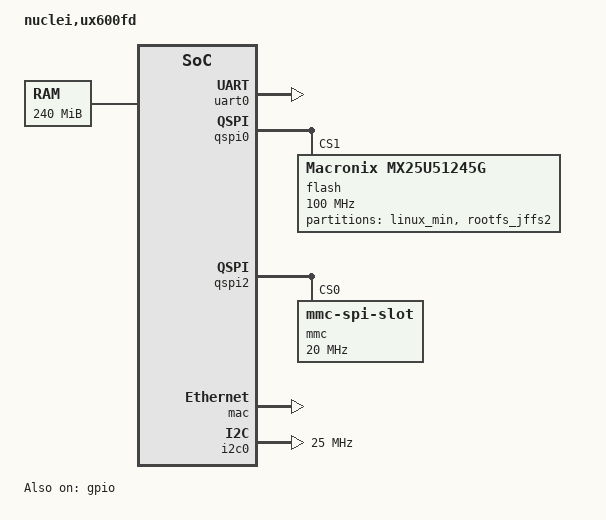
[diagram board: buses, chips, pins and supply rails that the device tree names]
// SPDX-License-Identifier: (GPL-2.0 OR MIT)
/* Copyright (c) 2020 Nuclei System Technologies */

/* Clock frequency (in Hz) of the PCB crystal for rtcclk */
/*#define RTCCLK_FREQ		32768*/

/dts-v1/;

/ {
	#address-cells = <2>;
	#size-cells = <2>;
	compatible = "nuclei,ux600fd";
	model = "nuclei,ux600fd";

	chosen {
		bootargs = "earlycon=sbi console=ttySIF0";
		stdout-path = "serial0";
	};

	aliases {
		serial0 = &uart0;
		serial1 = &uart1;
	};

	cpus {
		#address-cells = <1>;
		#size-cells = <0>;
		timebase-frequency = <48828>;
		
		cpu0: cpu@0 {
			device_type = "cpu";
			reg = <0>;
			status = "okay";
			compatible = "riscv";
			riscv,isa = "rv64imafdc";
			mmu-type = "riscv,sv39";
			clock-frequency = <400000000>;
		
			cpu0_intc: interrupt-controller {
				#interrupt-cells = <1>;
				interrupt-controller;
				compatible = "riscv,cpu-intc";
			};
		};
	};

	memory@41000000 {
		device_type = "memory";
		reg = <0x0 0x41000000 0x0 0xf000000>;
	};

	soc {
		#address-cells = <2>;
		#size-cells = <2>;
		compatible = "nuclei,ux600fd", "simple-bus";
		ranges;
	};

	hfclk: hfclk {
		#clock-cells = <0>;
		compatible = "fixed-clock";
		clock-frequency = <200000000>;
		clock-output-names = "hfclk";
	};
 
 	hfclk2: hfclk2 {
		#clock-cells = <0>;
		compatible = "fixed-clock";
		clock-frequency = <100000000>;
		clock-output-names = "hfclk2";
	};

	console {
		compatible = "sbi,console";
	};

	plic0: interrupt-controller@8000000 {
		#interrupt-cells = <1>;
		compatible = "riscv,plic0";
		interrupt-controller;
		riscv,ndev = <53>;
		interrupts-extended =
		<&cpu0_intc 11 &cpu0_intc 9>;
		reg = <0x0 0x8000000 0x0 0x4000000>;
	};

	uart0: serial@10013000 {
		compatible = "sifive,uart0";
		reg = <0x0 0x10013000 0x0 0x1000>;
		interrupt-parent = <&plic0>;
		interrupts = <2>;
		clocks = <&hfclk2>;
		status = "okay";
	};

	uart1: serial@10012000 {
		compatible = "sifive,uart0";
		reg = <0x0 0x10012000 0x0 0x1000>;
		interrupt-parent = <&plic0>;
		interrupts = <3>;
		clocks = <&hfclk2>;
		status = "disabled";
	};
  
	qspi0: spi@10014000 {
		compatible = "sifive,spi0";
		reg = <0x0 0x10014000 0x0 0x1000>;
		interrupt-parent = <&plic0>;
		interrupts = <5>;
		clocks = <&hfclk2>;
  		num-cs = <1>;
  		#address-cells = <1>;
  		#size-cells = <0>;
		status = "okay";

		flash@0 { 	
  			compatible = "Macronix,mx25u51245g","jedec,spi-nor";
			reg = <1>;
			spi-tx-bus-width = <1>;
			spi-rx-bus-width = <1>;
			spi-max-frequency = <100000000>;
  			#address-cells = <1>;
  			#size-cells = <1>; 
			//m25p,fast-read;
			partition@0 {
				reg = <0x00000000 0x00C00000>;
				label = "linux_min";
			};
			
			/*
			partition@0 {
				reg = <0x00000000 0x000E0000>;
				label = "uboot";
			};

                        partition@E0000 {
                                reg = <0x000E0000 0x00020000>;
                                label = "dtb";
                        };

                        partition@100000 {
				reg = <0x00100000 0x00400000>;
                                label = "kernel";
                        };
						
                        partition@500000 {
				reg = <0x00500000 0x00700000>;
                                label = "rootfs";
                        };
			*/

			partition@C00000 {
				reg = <0x00C00000 0x03400000>;
				label = "rootfs_jffs2";
			};
		};
	};

  	qspi2: spi@10016000 {
		compatible = "sifive,spi0";
		reg = <0x0 0x10016000 0x0 0x1000>;
		interrupt-parent = <&plic0>;
		interrupts = <6>;
		clocks = <&hfclk>;
		num-cs = <1>;
		#address-cells = <1>;
		#size-cells = <0>;
		status = "okay";
  
  		mmc@0 {
  			compatible = "mmc-spi-slot";
  			reg = <0>;
  			spi-max-frequency = <20000000>;
  			voltage-ranges = <3300 3300>;
  			disable-wp;
		};
	};
  
	mac: ethernet@67800000 {
		compatible = "fsl,fsl-mac";
		reg = <0x0 0x67800000 0x0 0x1000>;
		interrupt-parent = <&plic0>;
		interrupts = <10>,<11>,<12>;
		clocks = <&hfclk>;
		num-cs = <1>;
		#address-cells = <1>;
		#size-cells = <0>;
		status = "okay";
	};	

	gpio: gpio@10011000 {
		compatible = "sifive,gpio0";
		interrupt-parent = <&plic0>;
		interrupts = <1>;
		reg = <0x0 0x10011000 0x0 0x1000>;
		gpio-controller;
		#gpio-cells = <2>;
		interrupt-controller;
		#interrupt-cells = <2>;
		clocks = <&hfclk>;
		status = "okay";
	};

	i2c0: ocores@10018000 {
		compatible = "opencores,i2c-ocores";
		#address-cells = <1>;
		#size-cells = <0>;     
		interrupt-parent = <&plic0>;
		interrupts = <4>;
		reg = <0x0 0x10018000 0x0 0x1000>;
		clock-frequency = <25000000>;
	};    
};
